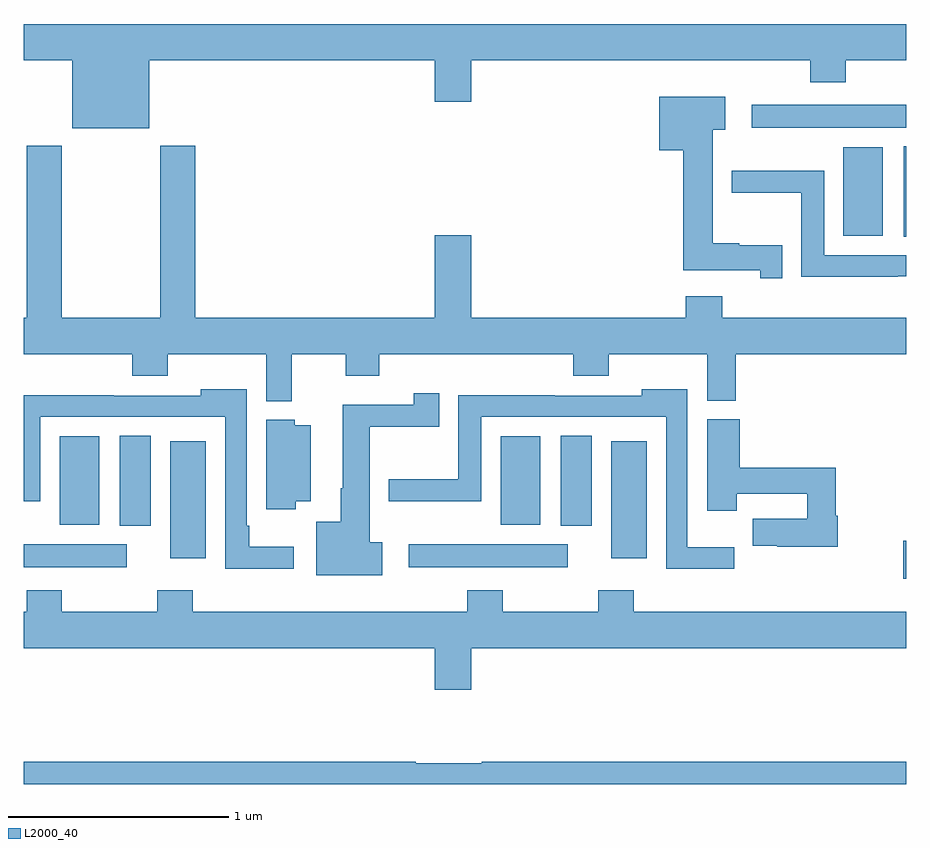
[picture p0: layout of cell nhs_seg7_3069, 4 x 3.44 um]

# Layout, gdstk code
import gdstk
lib = gdstk.Library(unit=1e-6, precision=1e-09)
def R(c, l, rs):  # rectangles x0, y0, x1, y1
    for r in rs: c.add(gdstk.rectangle(r[:2], r[2:], *l))
def P(c, l, *ps):  # polygons
    for p in ps: c.add(gdstk.Polygon(p, *l))
L2000_40 = (2000, 40)

nhs_seg7_3069 = lib.new_cell('nhs_seg7_3069')
R(nhs_seg7_3069, L2000_40, [(310.986,1000.931,311,1001.102), (307,1000.982,307.468,1001.086), (308.745,1000.982,309.466,1001.086), (307.664,1001.022,307.825,1001.554), (309.662,1001.022,309.823,1001.554), (307.436,1001.171,307.576,1001.579), (309.434,1001.171,309.574,1001.579), (307.163,1001.174,307.342,1001.575), (309.161,1001.174,309.34,1001.575), (310.988,1002.481,311,1002.889), (310.715,1002.485,310.894,1002.886), (310.299,1002.974,311,1003.078)])
P(nhs_seg7_3069, L2000_40, [(307.57,1003.28),(308.864,1003.28),(308.864,1003.092),(309.028,1003.092),(309.028,1003.28),(310.565,1003.28),(310.565,1003.181),(310.725,1003.181),(310.725,1003.28),(311,1003.28),(311,1003.444),(307,1003.444),(307,1003.28),(307.22,1003.28),(307.22,1002.971),(307.57,1002.971)],
  [(310.438,1002.441),(310.242,1002.441),(310.242,1002.451),(310.123,1002.451),(310.123,1002.965),(310.18,1002.965),(310.18,1003.114),(309.881,1003.114),(309.881,1002.872),(309.989,1002.872),(309.989,1002.329),(310.338,1002.329),(310.338,1002.291),(310.438,1002.291)],
  [(308.215,1001.948),(308.459,1001.948),(308.459,1001.849),(308.612,1001.849),(308.612,1001.948),(309.491,1001.948),(309.491,1001.849),(309.651,1001.849),(309.651,1001.948),(310.097,1001.948),(310.097,1001.737),(310.226,1001.737),(310.226,1001.948),(311,1001.948),(311,1002.112),(310.166,1002.112),(310.166,1002.211),(310.001,1002.211),(310.001,1002.112),(309.028,1002.112),(309.028,1002.487),(308.864,1002.487),(308.864,1002.112),(307.778,1002.112),(307.778,1002.892),(307.618,1002.892),(307.618,1002.112),(307.173,1002.112),(307.173,1002.892),(307.013,1002.892),(307.013,1002.112),(307,1002.112),(307,1001.948),(307.493,1001.948),(307.493,1001.849),(307.653,1001.849),(307.653,1001.948),(308.099,1001.948),(308.099,1001.735),(308.215,1001.735)],
  [(310.961,1002.3),(311,1002.3),(311,1002.396),(310.627,1002.396),(310.627,1002.779),(310.208,1002.779),(310.208,1002.679),(310.523,1002.679),(310.523,1002.299),(310.961,1002.299)],
  [(308.224,1001.074),(308.023,1001.074),(308.023,1001.17),(308.01,1001.17),(308.01,1001.788),(307.803,1001.788),(307.803,1001.76),(307.409,1001.76),(307.409,1001.762),(307,1001.762),(307,1001.282),(307.075,1001.282),(307.075,1001.664),(307.914,1001.664),(307.914,1000.976),(308.224,1000.976)],
  [(310.219,1001.072),(310.008,1001.072),(310.008,1001.788),(309.801,1001.788),(309.801,1001.76),(309.407,1001.76),(309.407,1001.762),(308.969,1001.762),(308.969,1001.382),(308.654,1001.382),(308.654,1001.282),(309.073,1001.282),(309.073,1001.664),(309.912,1001.664),(309.912,1000.976),(310.219,1000.976)],
  [(308.626,1001.096),(308.569,1001.096),(308.569,1001.62),(308.884,1001.62),(308.884,1001.77),(308.767,1001.77),(308.767,1001.719),(308.447,1001.719),(308.447,1001.34),(308.438,1001.34),(308.438,1001.188),(308.327,1001.188),(308.327,1000.946),(308.626,1000.946)],
  [(310.69,1001.216),(310.679,1001.216),(310.679,1001.432),(310.244,1001.432),(310.244,1001.652),(310.097,1001.652),(310.097,1001.238),(310.232,1001.238),(310.232,1001.316),(310.551,1001.316),(310.551,1001.201),(310.304,1001.201),(310.304,1001.079),(310.414,1001.079),(310.414,1001.074),(310.69,1001.074)],
  [(308.233,1001.282),(308.302,1001.282),(308.302,1001.626),(308.229,1001.626),(308.229,1001.65),(308.099,1001.65),(308.099,1001.246),(308.233,1001.246)],
  [(308.864,1000.428),(309.028,1000.428),(309.028,1000.616),(311,1000.616),(311,1000.78),(309.764,1000.78),(309.764,1000.879),(309.604,1000.879),(309.604,1000.78),(309.171,1000.78),(309.171,1000.879),(309.011,1000.879),(309.011,1000.78),(307.766,1000.78),(307.766,1000.879),(307.606,1000.879),(307.606,1000.78),(307.173,1000.78),(307.173,1000.879),(307.013,1000.879),(307.013,1000.78),(307,1000.78),(307,1000.616),(308.864,1000.616)],
  [(311,1000.1),(309.076,1000.1),(309.076,1000.093),(308.776,1000.093),(308.776,1000.1),(307,1000.1),(307,1000),(311,1000)])

lib.write_gds('nhs_seg7_3069.gds')
